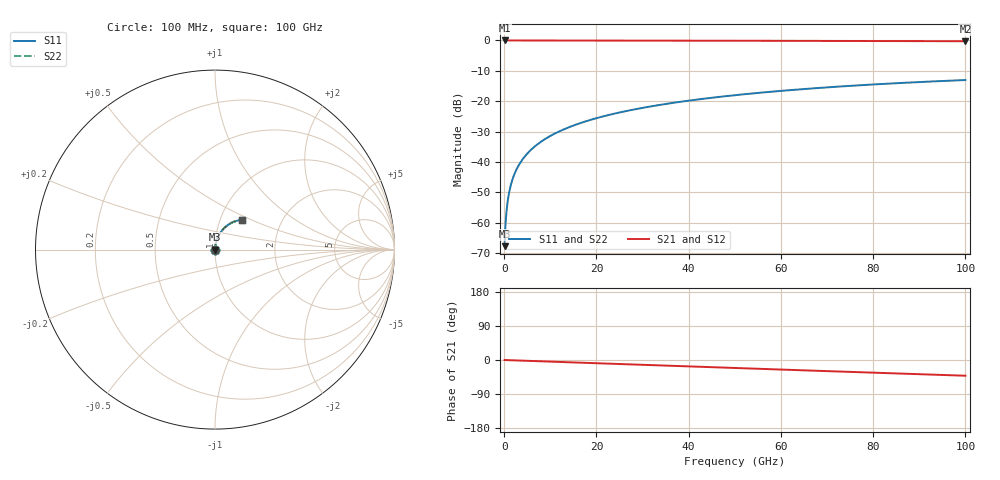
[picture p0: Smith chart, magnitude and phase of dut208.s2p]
! Touchstone file exported from HFSS 2026.1.0
!  File:  C:/ffzhzh/LocalFiles/Ansys_Project_Files/temp_train_TSV_208_1783507580_55944.aedt
!  Generated:  06:47:47 PM Jul  8, 2026
!  Design:  TSV
!  Project:  temp_train_TSV_208_1783507580_55944
! Variables:
!  h_bsmrdl = 2um
!  h_ox = 20um
!  h_rdl = 5um
!  h_sub = 78.8um
!  h_tmrdl = 5um
!  h_tsv = 78.8um
!  h_via = 3um
!  l_bsmrdl = 300um
!  l_sub = 412.24um
!  l_tmrdl = 200um
!  m_sub = 200um
!  pitch = 41.2um
!  r_tsv = 6.12um
!  s_tmrdl = 10um
!  w_bsmrdl = 18um
!  w_sub = 500um
!  w_tmrdl = 12um
!  x_tsv_center1 = 206um
!  x_tsv_center2 = 524um
!  x_tsv_center3 = 736um
!  x_tsv_center4 = 1054um
!  x_tsv_center5 = 1266um
!  x_tsv_center6 = 1584um
# GHz S MA R 50.000000
! Terminal data exported
! Port[1] = TSV1_1_T1
! Port[2] = TSV1_1_T2
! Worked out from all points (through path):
!   1000 points, 100 MHz to 100 GHz, reference 50 ohm
!   highest |S21| = 0.00 dB at 100 MHz (marker M1); lowest = -0.3 dB at 100 GHz (marker M2)
!   group delay of S21, straight-line fit = 1.15 ps
!   lowest |S11| = -67.7 dB at 100 MHz (marker M3), VSWR 1.00, Z = 50 + j0.0308 ohm
!   |S11| at or under -10 dB: start of sweep to end of sweep
!   |S22| runs from -67.7 to -13.0 dB; largest |S21 - S12| = 4.4e-15
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0.1  0.0004127 48.2  0.9997 -0.0  0.9997 -0.0  0.0004127 48.2
! Gamma 0 0 0 0
! Port Impedance 50 0 50 0
0.4  0.001224 74.9  0.9997 -0.2  0.9997 -0.2  0.001224 74.9
0.7  0.002071 80.1  0.9996 -0.3  0.9996 -0.3  0.002071 80.1
0.8  0.002354 80.9  0.9996 -0.4  0.9996 -0.4  0.002354 80.9
1.1  0.003203 82.4  0.9996 -0.5  0.9996 -0.5  0.003203 82.4
1.4  0.004047 83.2  0.9996 -0.6  0.9996 -0.6  0.004047 83.2
1.9  0.005435 83.7  0.9995 -0.8  0.9995 -0.8  0.005435 83.7
2.4  0.006802 83.9  0.9994 -1.0  0.9994 -1.0  0.006802 83.9
3  0.008421 84.1  0.9993 -1.3  0.9993 -1.3  0.008421 84.1
3.8  0.01055 84.1  0.9992 -1.6  0.9992 -1.6  0.01055 84.1
4.8  0.0132 84.1  0.999 -2.1  0.999 -2.1  0.0132 84.1
6  0.01636 84.0  0.9989 -2.6  0.9989 -2.6  0.01636 84.0
8.8  0.02371 83.3  0.9985 -3.8  0.9985 -3.8  0.02371 83.3
12.4  0.03308 82.2  0.998 -5.3  0.998 -5.3  0.03308 82.2
16.8  0.04442 80.7  0.9973 -7.2  0.9973 -7.2  0.04442 80.7
24.2  0.06327 77.9  0.996 -10.3  0.996 -10.3  0.06327 77.9
33.4  0.08618 74.3  0.9939 -14.2  0.9939 -14.2  0.08618 74.3
41.2  0.1051 71.2  0.9919 -17.4  0.9919 -17.4  0.1051 71.2
50.1  0.1259 67.6  0.9892 -21.1  0.9892 -21.1  0.1259 67.6
66.7  0.1623 60.9  0.9836 -28.0  0.9836 -28.0  0.1623 60.9
83.4  0.1951 54.2  0.9773 -34.8  0.9773 -34.8  0.1951 54.2
100  0.2232 47.6  0.971 -41.5  0.971 -41.5  0.2232 47.7
